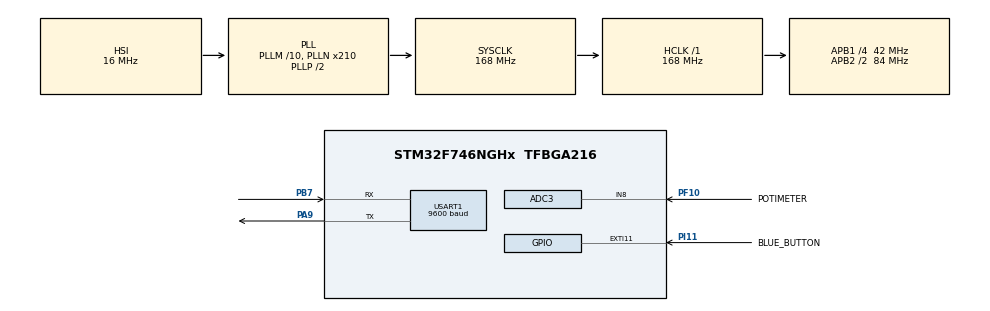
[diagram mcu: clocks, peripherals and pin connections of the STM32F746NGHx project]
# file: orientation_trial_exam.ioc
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ADC3.Channel-0\#ChannelRegularConversion=ADC_CHANNEL_8
ADC3.NbrOfConversionFlag=1
ADC3.Rank-0\#ChannelRegularConversion=1
ADC3.SamplingTime-0\#ChannelRegularConversion=ADC_SAMPLETIME_3CYCLES
FREERTOS.Mutexes01=Vector,Dynamic,NULL;WriteIn,Dynamic,NULL
FREERTOS.Tasks01=defaultTask,0,128,StartDefaultTask,Default,NULL,Dynamic,NULL,NULL;air_pressure_pr,-3,512,Startair_pressure_print,Default,NULL,Dynamic,NULL,NULL;air_pressure_me,-3,256,Startair_pressure_meas,Default,NULL,Dynamic,NULL,NULL
Mcu.Family=STM32F7
Mcu.Name=STM32F746NGHx
Mcu.Package=TFBGA216
NVIC.EXTI15_10_IRQn=true\:6\:0\:true\:false\:true\:false\:true\:true
NVIC.PriorityGroup=NVIC_PRIORITYGROUP_4
NVIC.TIM8_TRG_COM_TIM14_IRQn=true\:0\:0\:false\:false\:true\:false\:false\:true
NVIC.TimeBase=TIM8_TRG_COM_TIM14_IRQn
NVIC.TimeBaseIP=TIM14
PA13.Mode=Serial_Wire
PA13.Signal=SYS_JTMS-SWDIO
PA14.Mode=Serial_Wire
PA14.Signal=SYS_JTCK-SWCLK
PA9.Mode=Asynchronous
PA9.Signal=USART1_TX
PB7.Mode=Asynchronous
PB7.Signal=USART1_RX
PC14/OSC32_IN.Mode=LSE-External-Clock-Source
PC14/OSC32_IN.Signal=RCC_OSC32_IN
PC15/OSC32_OUT.Mode=LSE-External-Clock-Source
PC15/OSC32_OUT.Signal=RCC_OSC32_OUT
PF10.GPIO_Label=POTIMETER
PF10.Mode=IN8
PF10.Signal=ADC3_IN8
PH0/OSC_IN.Mode=HSE-External-Oscillator
PH0/OSC_IN.Signal=RCC_OSC_IN
PH1/OSC_OUT.Mode=HSE-External-Oscillator
PH1/OSC_OUT.Signal=RCC_OSC_OUT
PI11.GPIO_Label=BLUE_BUTTON
PI11.GPIO_ModeDefaultEXTI=GPIO_MODE_IT_RISING_FALLING
PI11.GPIO_PuPd=GPIO_PULLDOWN
PI11.Signal=GPXTI11
ProjectManager.HeapSize=0x200
ProjectManager.StackSize=0x400
ProjectManager.TargetToolchain=STM32CubeIDE
RCC.AHBFreq_Value=168000000
RCC.APB1CLKDivider=RCC_HCLK_DIV4
RCC.APB1Freq_Value=42000000
RCC.APB1TimFreq_Value=84000000
RCC.APB2CLKDivider=RCC_HCLK_DIV2
RCC.APB2Freq_Value=84000000
RCC.APB2TimFreq_Value=168000000
RCC.CortexFreq_Value=168000000
RCC.HCLKFreq_Value=168000000
RCC.HSE_VALUE=25000000
RCC.HSI_VALUE=16000000
RCC.LSE_VALUE=32768
RCC.PLLM=10
RCC.PLLN=210
RCC.PLLSourceVirtual=RCC_PLLSOURCE_HSI
RCC.SYSCLKFreq_VALUE=168000000
RCC.SYSCLKSource=RCC_SYSCLKSOURCE_PLLCLK
RCC.USBFreq_Value=168000000
RCC.VCOOutputFreq_Value=336000000
USART1.BaudRate=9600
USART1.VirtualMode-Asynchronous=VM_ASYNC
VP_FREERTOS_VS_CMSIS_V1.Mode=CMSIS_V1
VP_SYS_VS_tim14.Mode=TIM14
board=STM32F746G-DISCO

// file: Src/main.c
/* USER CODE BEGIN Header */
/**
  ******************************************************************************
  * @file           : main.c
  * @brief          : Main program body
  ******************************************************************************
  * @attention
  *
  * <h2><center>&copy; Copyright (c) 2019 STMicroelectronics.
  * All rights reserved.</center></h2>
  *
  * This software component is licensed by ST under BSD 3-Clause license,
  * the "License"; You may not use this file except in compliance with the
  * License. You may obtain a copy of the License at:
  *                        opensource.org/licenses/BSD-3-Clause
  *
  ******************************************************************************
  */
/* USER CODE END Header */

#include "main.h"
#include "cmsis_os.h"

/* USER CODE BEGIN Includes */
#include "my_vector.h"
#include "stdio.h"
#include "definition.h"
#include "string.h"
/* USER CODE END Includes */

ADC_HandleTypeDef hadc3;

UART_HandleTypeDef huart1;

osThreadId defaultTaskHandle;
osThreadId air_pressure_prHandle;
osThreadId air_pressure_meHandle;
osMutexId VectorHandle;
osMutexId WriteInHandle;
/* USER CODE BEGIN PV */
vector_t* vector;
int prev_start_time;
int counter;
air_pressure_t new_air_pressure_measurement;
/* USER CODE END PV */

void SystemClock_Config(void);
static void MX_GPIO_Init(void);
static void MX_ADC3_Init(void);
static void MX_USART1_UART_Init(void);
void StartDefaultTask(void const * argument);
void Startair_pressure_print(void const * argument);
void Startair_pressure_meas(void const * argument);

int main(void)
{

  /* MCU Configuration--------------------------------------------------------*/

  /* Reset of all peripherals, Initializes the Flash interface and the Systick. */
  HAL_Init();

  /* Configure the system clock */
  SystemClock_Config();

  /* Initialize all configured peripherals */
  MX_GPIO_Init();
  MX_ADC3_Init();
  MX_USART1_UART_Init();
  /* USER CODE BEGIN 2 */
  init_vector(&vector);
  /* USER CODE END 2 */

  /* Create the mutex(es) */
  /* definition and creation of Vector */
  osMutexDef(Vector);
  VectorHandle = osMutexCreate(osMutex(Vector));

  /* definition and creation of WriteIn */
  osMutexDef(WriteIn);
  WriteInHandle = osMutexCreate(osMutex(WriteIn));

  /* Create the thread(s) */
  /* definition and creation of defaultTask */
  osThreadDef(defaultTask, StartDefaultTask, osPriorityNormal, 0, 128);
  defaultTaskHandle = osThreadCreate(osThread(defaultTask), NULL);

  /* definition and creation of air_pressure_pr */
  osThreadDef(air_pressure_pr, Startair_pressure_print, osPriorityIdle, 0, 512);
  air_pressure_prHandle = osThreadCreate(osThread(air_pressure_pr), NULL);

  /* definition and creation of air_pressure_me */
  osThreadDef(air_pressure_me, Startair_pressure_meas, osPriorityIdle, 0, 256);
  air_pressure_meHandle = osThreadCreate(osThread(air_pressure_me), NULL);

  /* Start scheduler */
  osKernelStart();

  /* We should never get here as control is now taken by the scheduler */

  /* Infinite loop */
  while (1)
  {

  }
}

void SystemClock_Config(void)
{
  RCC_OscInitTypeDef RCC_OscInitStruct = {0};
  RCC_ClkInitTypeDef RCC_ClkInitStruct = {0};
  RCC_PeriphCLKInitTypeDef PeriphClkInitStruct = {0};

  /** Configure the main internal regulator output voltage
  */
  __HAL_RCC_PWR_CLK_ENABLE();
  __HAL_PWR_VOLTAGESCALING_CONFIG(PWR_REGULATOR_VOLTAGE_SCALE2);
  /** Initializes the CPU, AHB and APB busses clocks
  */
  RCC_OscInitStruct.OscillatorType = RCC_OSCILLATORTYPE_HSI;
  RCC_OscInitStruct.HSIState = RCC_HSI_ON;
  RCC_OscInitStruct.HSICalibrationValue = RCC_HSICALIBRATION_DEFAULT;
  RCC_OscInitStruct.PLL.PLLState = RCC_PLL_ON;
  RCC_OscInitStruct.PLL.PLLSource = RCC_PLLSOURCE_HSI;
  RCC_OscInitStruct.PLL.PLLM = 10;
  RCC_OscInitStruct.PLL.PLLN = 210;
  RCC_OscInitStruct.PLL.PLLP = RCC_PLLP_DIV2;
  RCC_OscInitStruct.PLL.PLLQ = 2;
  if (HAL_RCC_OscConfig(&RCC_OscInitStruct) != HAL_OK)
  {
    Error_Handler();
  }
  /** Initializes the CPU, AHB and APB busses clocks
  */
  RCC_ClkInitStruct.ClockType = RCC_CLOCKTYPE_HCLK|RCC_CLOCKTYPE_SYSCLK
                              |RCC_CLOCKTYPE_PCLK1|RCC_CLOCKTYPE_PCLK2;
  RCC_ClkInitStruct.SYSCLKSource = RCC_SYSCLKSOURCE_PLLCLK;
  RCC_ClkInitStruct.AHBCLKDivider = RCC_SYSCLK_DIV1;
  RCC_ClkInitStruct.APB1CLKDivider = RCC_HCLK_DIV4;
  RCC_ClkInitStruct.APB2CLKDivider = RCC_HCLK_DIV2;

  if (HAL_RCC_ClockConfig(&RCC_ClkInitStruct, FLASH_LATENCY_5) != HAL_OK)
  {
    Error_Handler();
  }
  PeriphClkInitStruct.PeriphClockSelection = RCC_PERIPHCLK_USART1;
  PeriphClkInitStruct.Usart1ClockSelection = RCC_USART1CLKSOURCE_PCLK2;
  if (HAL_RCCEx_PeriphCLKConfig(&PeriphClkInitStruct) != HAL_OK)
  {
    Error_Handler();
  }
}

static void MX_ADC3_Init(void)
{

  ADC_ChannelConfTypeDef sConfig = {0};

  /** Configure the global features of the ADC (Clock, Resolution, Data Alignment and number of conversion)
  */
  hadc3.Instance = ADC3;
  hadc3.Init.ClockPrescaler = ADC_CLOCK_SYNC_PCLK_DIV4;
  hadc3.Init.Resolution = ADC_RESOLUTION_12B;
  hadc3.Init.ScanConvMode = ADC_SCAN_DISABLE;
  hadc3.Init.ContinuousConvMode = DISABLE;
  hadc3.Init.DiscontinuousConvMode = DISABLE;
  hadc3.Init.ExternalTrigConvEdge = ADC_EXTERNALTRIGCONVEDGE_NONE;
  hadc3.Init.ExternalTrigConv = ADC_SOFTWARE_START;
  hadc3.Init.DataAlign = ADC_DATAALIGN_RIGHT;
  hadc3.Init.NbrOfConversion = 1;
  hadc3.Init.DMAContinuousRequests = DISABLE;
  hadc3.Init.EOCSelection = ADC_EOC_SINGLE_CONV;
  if (HAL_ADC_Init(&hadc3) != HAL_OK)
  {
    Error_Handler();
  }
  /** Configure for the selected ADC regular channel its corresponding rank in the sequencer and its sample time.
  */
  sConfig.Channel = ADC_CHANNEL_8;
  sConfig.Rank = ADC_REGULAR_RANK_1;
  sConfig.SamplingTime = ADC_SAMPLETIME_3CYCLES;
  if (HAL_ADC_ConfigChannel(&hadc3, &sConfig) != HAL_OK)
  {
    Error_Handler();
  }

}

static void MX_USART1_UART_Init(void)
{

  huart1.Instance = USART1;
  huart1.Init.BaudRate = 9600;
  huart1.Init.WordLength = UART_WORDLENGTH_8B;
  huart1.Init.StopBits = UART_STOPBITS_1;
  huart1.Init.Parity = UART_PARITY_NONE;
  huart1.Init.Mode = UART_MODE_TX_RX;
  huart1.Init.HwFlowCtl = UART_HWCONTROL_NONE;
  huart1.Init.OverSampling = UART_OVERSAMPLING_16;
  huart1.Init.OneBitSampling = UART_ONE_BIT_SAMPLE_DISABLE;
  huart1.AdvancedInit.AdvFeatureInit = UART_ADVFEATURE_NO_INIT;
  if (HAL_UART_Init(&huart1) != HAL_OK)
  {
    Error_Handler();
  }

}

static void MX_GPIO_Init(void)
{
  GPIO_InitTypeDef GPIO_InitStruct = {0};

  /* GPIO Ports Clock Enable */
  __HAL_RCC_GPIOA_CLK_ENABLE();
  __HAL_RCC_GPIOB_CLK_ENABLE();
  __HAL_RCC_GPIOC_CLK_ENABLE();
  __HAL_RCC_GPIOI_CLK_ENABLE();
  __HAL_RCC_GPIOH_CLK_ENABLE();
  __HAL_RCC_GPIOF_CLK_ENABLE();

  /*Configure GPIO pin : BLUE_BUTTON_Pin */
  GPIO_InitStruct.Pin = BLUE_BUTTON_Pin;
  GPIO_InitStruct.Mode = GPIO_MODE_IT_RISING_FALLING;
  GPIO_InitStruct.Pull = GPIO_PULLDOWN;
  HAL_GPIO_Init(BLUE_BUTTON_GPIO_Port, &GPIO_InitStruct);

  /* EXTI interrupt init*/
  HAL_NVIC_SetPriority(EXTI15_10_IRQn, 6, 0);
  HAL_NVIC_EnableIRQ(EXTI15_10_IRQn);

}

/* USER CODE BEGIN 4 */
void HAL_GPIO_EXTI_Callback(uint16_t GPIO_Pin){

	if(GPIO_Pin == BLUE_BUTTON_Pin){
	if(HAL_GetTick() - 300 < prev_start_time){
		return;
	}
		prev_start_time = HAL_GetTick();
		osSignalSet(air_pressure_meHandle, 1);
	}
}

/*int __io_putchar(int ch)
{
    HAL_UART_Transmit(&huart1, (uint8_t*)&ch, 1, 0xFFFF);
    return ch;
}*/
/* USER CODE END 4 */

void StartDefaultTask(void const * argument)
{

  for(;;)
  {
    osDelay(1);
  }
}

void Startair_pressure_print(void const * argument)
{
  /* USER CODE BEGIN Startair_pressure_print */
  /* Infinite loop */
  for(;;)
  {
	  char character[55];
	  sprintf(character,"----------------------\r\n");
	  HAL_UART_Transmit(&huart1, (uint8_t *)character, strlen(character), 100);
	  if(empty(vector)){
		  sprintf(character, "Vector is empty!\r\n");
		  HAL_UART_Transmit(&huart1, (uint8_t *)character, strlen(character), 100);
	  }else{
	  for(int i = 0; i < size(vector); i++){
		osMutexWait(WriteInHandle, osWaitForever);
	    new_air_pressure_measurement = vector_at(vector, i);
	    osMutexRelease(WriteInHandle);
	    sprintf(character, "%d.    %lu ms  %lu kPa\r\n", i, new_air_pressure_measurement.timestamp_ms, (uint32_t)new_air_pressure_measurement.pressure_kPa);
	    HAL_UART_Transmit(&huart1, (uint8_t *)character, strlen(character), 100);
	  }
  }

	  osDelay(1000);
  }
  /* USER CODE END Startair_pressure_print */
}

void Startair_pressure_meas(void const * argument)
{
  /* USER CODE BEGIN Startair_pressure_meas */
  /* Infinite loop */
  for(;;)
  {
	  osSignalWait(1, osWaitForever);
	  //counter++;
	  	HAL_ADC_Start(&hadc3);
	  	if(HAL_ADC_PollForConversion(&hadc3, 10) == HAL_OK){
	  		counter++;
	  		new_air_pressure_measurement.timestamp_ms = HAL_GetTick();
	  		new_air_pressure_measurement.pressure_kPa = HAL_ADC_GetValue(&hadc3) *
	  				(MAXIMUM_PRESSURE - MINIMUM_PRESSURE) /
	  				(MAXIMUM_ANALOG - MINIMUM_ANALOG) + MINIMUM_PRESSURE;
	  	}
	  	osMutexWait(WriteInHandle, osWaitForever);
	  	push_back(vector, new_air_pressure_measurement);
	  	osMutexRelease(WriteInHandle);

  }
  /* USER CODE END Startair_pressure_meas */
}

void HAL_TIM_PeriodElapsedCallback(TIM_HandleTypeDef *htim)
{
  if (htim->Instance == TIM14) {
    HAL_IncTick();
  }
}

void Error_Handler(void)
{
}

/************************ (C) COPYRIGHT STMicroelectronics *****END OF FILE****/
